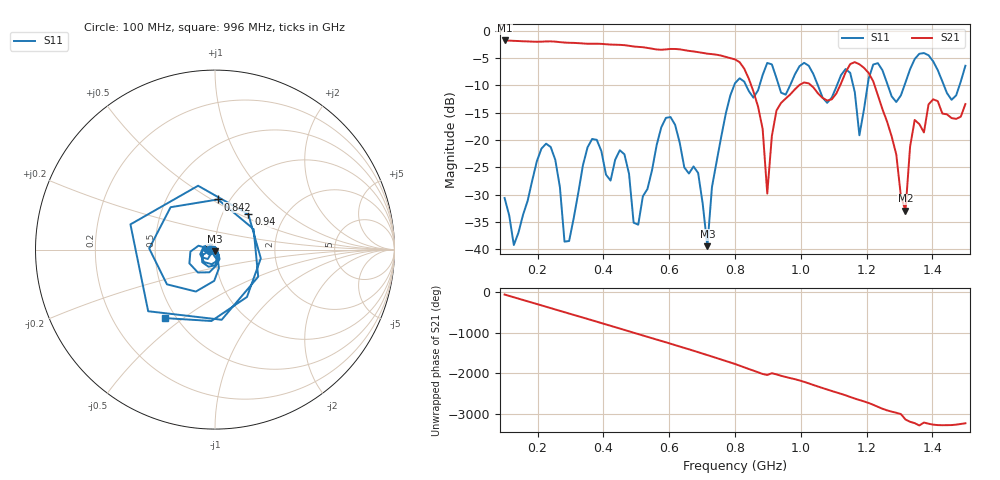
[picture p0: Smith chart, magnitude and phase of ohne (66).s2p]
! NanoVNA-App
! Date: 2025-09-26 09:55:54
! Start: 100MHz Stop: 1,5GHz Points: 101
! S-Parameter data: F S11 S21 S12 S22
# Hz S RI R 50
!  Frequency  S11_Real  S11_Imag  S21_Real  S21_Imag  S12_Real  S12_Imag  S22_Real  S22_Imag
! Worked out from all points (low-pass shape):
!   101 points, 100 MHz to 1.5 GHz, reference 50 ohm
!   highest |S21| = -1.79 dB at 100 MHz (marker M1); lowest = -32.9 dB at 1.318 GHz (marker M2)
!   |S21| within 3 dB of the highest: start of sweep to 771.4 MHz
!   lowest |S11| = -39.4 dB at 716 MHz (marker M3), VSWR 1.02, Z = 49.8 - j1.04 ohm
!   |S11| at or under -10 dB: start of sweep to 797.6 MHz; 833.5 MHz to 874.6 MHz (41.14 MHz wide, 4.82 % of centre); 1.052 GHz to 1.11 GHz (58.04 MHz wide, 5.37 % of centre)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
!   S12 and S22 are empty: the file has one direction only
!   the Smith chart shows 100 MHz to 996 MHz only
!   S11 on the Smith chart (normalised r, x): 100 MHz: 0.94, -0.01; 842 MHz: 0.88, +0.53; 940 MHz: 1.32, +0.56; 996 MHz: 0.44, -0.43
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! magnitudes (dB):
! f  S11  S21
! 100 MHz  -30.6  -1.8
! 128 MHz  -39.2  -1.9
! 226 MHz  -20.7  -2.0
! 296 MHz  -38.5  -2.2
! 338 MHz  -24.6  -2.3
! 464 MHz  -22.6  -2.7
! 506 MHz  -35.5  -3.0
! 576 MHz  -17.7  -3.5
! 716 MHz  -39.4  -4.2
! 800 MHz  -9.6  -5.3
! 842 MHz  -11.1  -8.8
! 898 MHz  -5.9  -29.8
! 940 MHz  -11.4  -13.2
! 996 MHz  -6.5  -9.9
! 1.038 GHz  -7.9  -10.4
! 1.15 GHz  -7.7  -6.1
! 1.178 GHz  -19.1  -6.2
! 1.22 GHz  -6.2  -9.3
! 1.276 GHz  -12.0  -19.4
! 1.318 GHz  -9.5  -32.9
! 1.346 GHz  -5.2  -16.3
! 1.5 GHz  -6.4  -13.4
